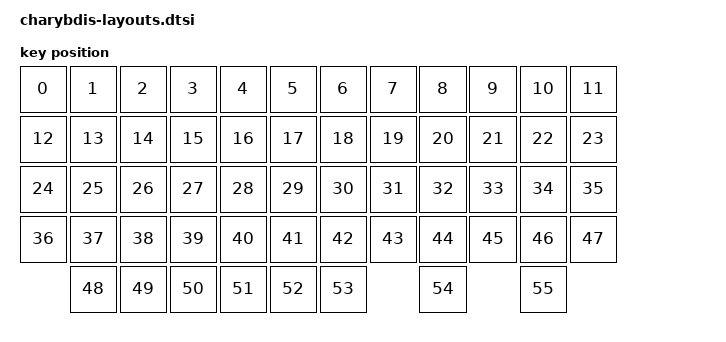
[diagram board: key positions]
// charybdis-layouts.dtsi
// 目的: ZMK Studio対応の「物理レイアウト」定義。
// ポイント:
// - #include <physical_layouts.dtsi> が必須（keys用の型定義）
// - compatible = "zmk,physical-layout"
// - transform = <&default_transform>;  ← 既存の matrix_transform を使う
// - keys = <...>; ← Studio必須。keymapの並び順と同じ数・順序で定義
//
// ここでは 12x5 変換のうち最下段は 8キー（col: 1,2,3,4,5,6,8,10）
// 1u=100（センチ・キー単位）で大まかにグリッド配置。
// 後で https://zmk-physical-layout-converter.streamlit.app/ を使って微調整推奨。

#include <physical_layouts.dtsi>

 /{
   charybdis_46_default: charybdis_46_default {
     compatible = "zmk,physical-layout";
     display-name = "Charybdis 4x6 (wireless)";
     // 既存の matrix_transform を利用
     transform = <&default_transform>;

     // w h x y rot rx ry（単位はドキュメント参照）
     // 上4段は 12 列フル、最下段は実キーポジのみ（合計 56 個）
     keys =
       // row 0 (12個)
         <&key_physical_attrs 100 100    0    0 0 0 0>
       , <&key_physical_attrs 100 100  100    0 0 0 0>
       , <&key_physical_attrs 100 100  200    0 0 0 0>
       , <&key_physical_attrs 100 100  300    0 0 0 0>
       , <&key_physical_attrs 100 100  400    0 0 0 0>
       , <&key_physical_attrs 100 100  500    0 0 0 0>
       , <&key_physical_attrs 100 100  600    0 0 0 0>
       , <&key_physical_attrs 100 100  700    0 0 0 0>
       , <&key_physical_attrs 100 100  800    0 0 0 0>
       , <&key_physical_attrs 100 100  900    0 0 0 0>
       , <&key_physical_attrs 100 100 1000    0 0 0 0>
       , <&key_physical_attrs 100 100 1100    0 0 0 0>

       // row 1 (12個)
       , <&key_physical_attrs 100 100    0  100 0 0 0>
       , <&key_physical_attrs 100 100  100  100 0 0 0>
       , <&key_physical_attrs 100 100  200  100 0 0 0>
       , <&key_physical_attrs 100 100  300  100 0 0 0>
       , <&key_physical_attrs 100 100  400  100 0 0 0>
       , <&key_physical_attrs 100 100  500  100 0 0 0>
       , <&key_physical_attrs 100 100  600  100 0 0 0>
       , <&key_physical_attrs 100 100  700  100 0 0 0>
       , <&key_physical_attrs 100 100  800  100 0 0 0>
       , <&key_physical_attrs 100 100  900  100 0 0 0>
       , <&key_physical_attrs 100 100 1000  100 0 0 0>
       , <&key_physical_attrs 100 100 1100  100 0 0 0>

       // row 2 (12個)
       , <&key_physical_attrs 100 100    0  200 0 0 0>
       , <&key_physical_attrs 100 100  100  200 0 0 0>
       , <&key_physical_attrs 100 100  200  200 0 0 0>
       , <&key_physical_attrs 100 100  300  200 0 0 0>
       , <&key_physical_attrs 100 100  400  200 0 0 0>
       , <&key_physical_attrs 100 100  500  200 0 0 0>
       , <&key_physical_attrs 100 100  600  200 0 0 0>
       , <&key_physical_attrs 100 100  700  200 0 0 0>
       , <&key_physical_attrs 100 100  800  200 0 0 0>
       , <&key_physical_attrs 100 100  900  200 0 0 0>
       , <&key_physical_attrs 100 100 1000  200 0 0 0>
       , <&key_physical_attrs 100 100 1100  200 0 0 0>

       // row 3 (12個)
       , <&key_physical_attrs 100 100    0  300 0 0 0>
       , <&key_physical_attrs 100 100  100  300 0 0 0>
       , <&key_physical_attrs 100 100  200  300 0 0 0>
       , <&key_physical_attrs 100 100  300  300 0 0 0>
       , <&key_physical_attrs 100 100  400  300 0 0 0>
       , <&key_physical_attrs 100 100  500  300 0 0 0>
       , <&key_physical_attrs 100 100  600  300 0 0 0>
       , <&key_physical_attrs 100 100  700  300 0 0 0>
       , <&key_physical_attrs 100 100  800  300 0 0 0>
       , <&key_physical_attrs 100 100  900  300 0 0 0>
       , <&key_physical_attrs 100 100 1000  300 0 0 0>
       , <&key_physical_attrs 100 100 1100  300 0 0 0>

       // row 4 (8個)  ← 使う列だけ：1 2 3 4 5 6 8 10
       , <&key_physical_attrs 100 100  100  400 0 0 0>
       , <&key_physical_attrs 100 100  200  400 0 0 0>
       , <&key_physical_attrs 100 100  300  400 0 0 0>
       , <&key_physical_attrs 100 100  400  400 0 0 0>
       , <&key_physical_attrs 100 100  500  400 0 0 0>
       , <&key_physical_attrs 100 100  600  400 0 0 0>
       , <&key_physical_attrs 100 100  800  400 0 0 0>
       , <&key_physical_attrs 100 100 1000  400 0 0 0>
       ;
   };
 };
